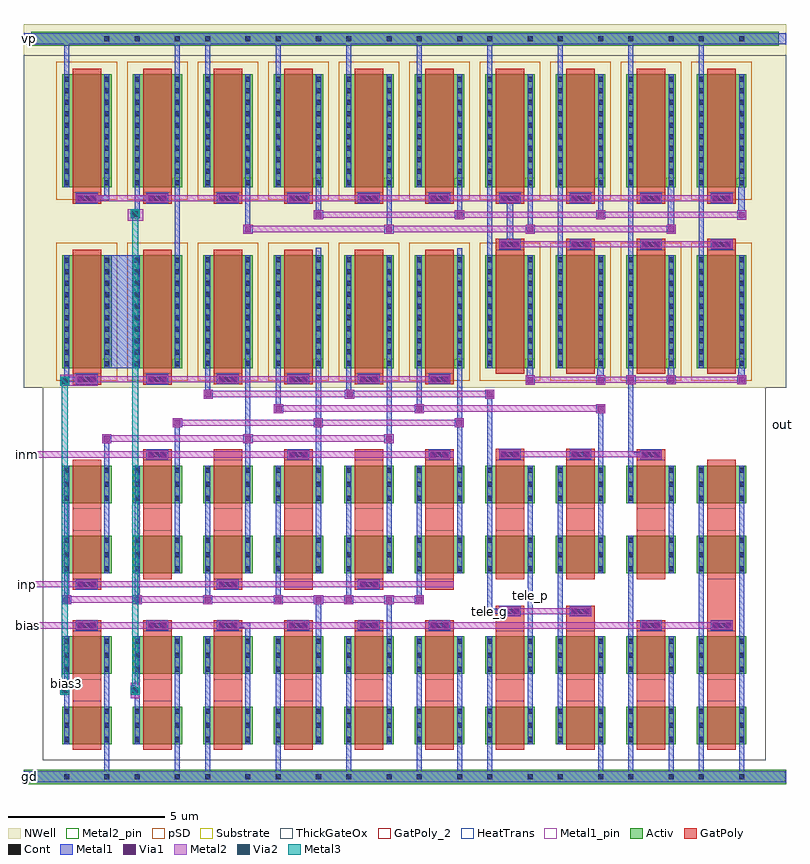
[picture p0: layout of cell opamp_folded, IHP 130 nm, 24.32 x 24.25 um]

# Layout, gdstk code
import gdstk
lib = gdstk.Library(unit=1e-6, precision=1e-09)
def R(c, l, rs):  # rectangles x0, y0, x1, y1
    for r in rs: c.add(gdstk.rectangle(r[:2], r[2:], *l))
def A(c, l, x, y, w, h, nx, ny, dx, dy):  # array of equal rectangles
    R(c, l, [(x+i*dx, y+j*dy, x+i*dx+w, y+j*dy+h) for i in range(nx) for j in range(ny)])
Activ = (1, 0)
GatPoly = (5, 0)
GatPoly_2 = (5, 2)
Cont = (6, 0)
Metal1 = (8, 0)
Metal1_pin = (8, 2)
Metal2 = (10, 0)
Metal2_pin = (10, 2)
pSD = (14, 0)
Via1 = (19, 0)
Via2 = (29, 0)
Metal3 = (30, 0)
NWell = (31, 0)
Substrate = (40, 0)
ThickGateOx = (44, 0)
HeatTrans = (51, 0)

pmoshv = lib.new_cell('pmosHV')
R(pmoshv, Activ, [(0,0,0.3,0.3), (0,0,1.58,3.6), (1.28,0,1.58,0.3)])
R(pmoshv, GatPoly, [(0.34,-0.18,1.24,3.78)])
R(pmoshv, GatPoly_2, [(0.34,-0.18,1.24,3.78)])
A(pmoshv, Cont, 0.07, 0.07, 0.16, 0.16, 1, 3, 0, 0.365)
A(pmoshv, Cont, 1.35, 0.07, 0.16, 0.16, 1, 3, 0, 0.365)
A(pmoshv, Cont, 0.07, 1.17, 0.16, 0.16, 1, 3, 0, 0.365)
A(pmoshv, Cont, 1.35, 1.17, 0.16, 0.16, 1, 3, 0, 0.365)
A(pmoshv, Cont, 0.07, 2.27, 0.16, 0.16, 1, 3, 0, 0.365)
A(pmoshv, Cont, 1.35, 2.27, 0.16, 0.16, 1, 3, 0, 0.365)
R(pmoshv, Cont, [(0.07,3.37,0.23,3.53), (1.35,3.37,1.51,3.53)])
R(pmoshv, Metal1, [(0.07,0,0.23,3.6), (1.35,0,1.51,3.6)])
R(pmoshv, Metal1_pin, [(0.07,0,0.23,3.6), (1.35,0,1.51,3.6)])
R(pmoshv, pSD, [(-0.18,-0.4,1.76,4)])
R(pmoshv, NWell, [(-0.62,-0.62,2.2,4.22)])
R(pmoshv, Substrate, [(1.28,0,1.58,0.3)])
R(pmoshv, ThickGateOx, [(-0.62,-0.62,2.2,4.22)])
R(pmoshv, HeatTrans, [(0.34,-0.18,1.24,3.78)])
pmoshv.add(gdstk.Label('pmosHV', (0.79,1.8), layer=63, texttype=0))
pmoshv.add(gdstk.Label('pmos', (0.79,1.8), layer=51, texttype=0))

via_stack_1 = lib.new_cell('via_stack$1')
R(via_stack_1, Metal1, [(-0.145,-0.145,0.145,0.145)])
R(via_stack_1, Metal2, [(-0.145,-0.145,0.145,0.145)])
R(via_stack_1, Via1, [(-0.095,-0.095,0.095,0.095)])

via_stack = lib.new_cell('via_stack')
R(via_stack, Metal1, [(-0.35,-0.145,0.35,0.145)])
R(via_stack, Metal2, [(-0.35,-0.145,0.35,0.145)])
R(via_stack, Via1, [(-0.3,-0.095,-0.11,0.095), (0.11,-0.095,0.3,0.095)])

via_stack_6 = lib.new_cell('via_stack$6')
R(via_stack_6, Metal1, [(-0.145,-0.145,0.145,0.145)])
R(via_stack_6, Metal2, [(-0.145,-0.145,0.145,0.145)])
R(via_stack_6, Via1, [(-0.095,-0.095,0.095,0.095)])
R(via_stack_6, Via2, [(-0.095,-0.095,0.095,0.095)])
R(via_stack_6, Metal3, [(-0.145,-0.145,0.145,0.145)])

nmoshv = lib.new_cell('nmosHV')
R(nmoshv, Activ, [(0,0,0.3,0.3), (0,0,1.58,1.2), (1.28,0,1.58,0.3)])
R(nmoshv, GatPoly, [(0.34,-0.18,1.24,1.38)])
R(nmoshv, GatPoly_2, [(0.34,-0.18,1.24,1.38)])
A(nmoshv, Cont, 0.07, 0.07, 0.16, 0.16, 1, 3, 0, 0.45)
A(nmoshv, Cont, 1.35, 0.07, 0.16, 0.16, 1, 3, 0, 0.45)
R(nmoshv, Metal1, [(0.07,0,0.23,1.2), (1.35,0,1.51,1.2)])
R(nmoshv, Metal1_pin, [(0.07,0,0.23,1.2), (1.35,0,1.51,1.2)])
R(nmoshv, ThickGateOx, [(-0.27,-0.52,1.85,1.72)])
R(nmoshv, HeatTrans, [(0.34,-0.18,1.24,1.38)])
nmoshv.add(gdstk.Label('nmosHV', (0.79,0.6), layer=63, texttype=0))
nmoshv.add(gdstk.Label('nmosHV', (0.79,0.6), layer=51, texttype=0))

opamp_folded = lib.new_cell('opamp_folded')
A(opamp_folded, GatPoly, 6.06, 6.2, 0.9, 0.34, 4, 2, 2.25, 6.55)
A(opamp_folded, GatPoly, 3.81, 10.34, 0.9, 0.34, 5, 1, 2.25, 0)
A(opamp_folded, GatPoly, 15.06, 17.05, 0.9, 0.34, 4, 1, 2.25, 0)
A(opamp_folded, GatPoly, 1.56, 18.52, 0.9, 0.34, 10, 1, 2.25, 0)
R(opamp_folded, GatPoly, [(1.56,6.2,2.46,6.54), (1.56,12.745,2.46,13.085), (3.81,12.745,4.71,13.085)])
A(opamp_folded, Cont, 1.71, 4.98, 0.6, 0.16, 6, 2, 2.25, 7.86)
A(opamp_folded, Cont, 1.71, 6.29, 0.6, 0.16, 3, 1, 4.5, 0)
A(opamp_folded, Cont, 3.96, 10.43, 0.6, 0.16, 3, 1, 4.5, 0)
A(opamp_folded, Cont, 15.21, 17.14, 0.6, 0.16, 4, 1, 2.25, 0)
A(opamp_folded, Cont, 1.71, 18.61, 0.6, 0.16, 10, 1, 2.25, 0)
R(opamp_folded, Cont, [(1.29,0.15,1.45,0.31), (2.57,0.15,2.73,0.31), (3.54,0.15,3.7,0.31), (4.82,0.15,4.98,0.31), (5.79,0.15,5.95,0.31), (7.07,0.15,7.23,0.31), (8.04,0.15,8.2,0.31), (9.32,0.15,9.48,0.31), (10.29,0.15,10.45,0.31), (11.57,0.15,11.73,0.31), (12.54,0.15,12.7,0.31), (13.82,0.15,13.98,0.31), (14.79,0.15,14.95,0.31), (16.07,0.15,16.23,0.31), (17.04,0.15,17.2,0.31), (18.32,0.15,18.48,0.31), (19.29,0.15,19.45,0.31), (20.57,0.15,20.73,0.31), (21.54,0.15,21.7,0.31), (22.82,0.15,22.98,0.31), (19.71,4.98,20.31,5.14), (21.97,4.98,22.57,5.14), (15.21,5.43,15.81,5.59), (17.46,5.43,18.06,5.59), (19.71,10.43,20.31,10.59), (15.21,10.44,15.81,10.6), (17.46,10.44,18.06,10.6), (2.57,23.7,2.73,23.86), (3.54,23.7,3.7,23.86), (4.82,23.7,4.98,23.86), (5.79,23.7,5.95,23.86), (7.07,23.7,7.23,23.86), (8.04,23.7,8.2,23.86), (9.32,23.7,9.48,23.86), (10.29,23.7,10.45,23.86), (11.57,23.7,11.73,23.86), (12.54,23.7,12.7,23.86), (13.82,23.7,13.98,23.86), (14.79,23.7,14.95,23.86), (16.07,23.7,16.23,23.86), (17.04,23.7,17.2,23.86), (18.32,23.7,18.48,23.86), (19.29,23.7,19.45,23.86), (20.57,23.7,20.73,23.86), (21.54,23.7,21.7,23.86), (22.82,23.7,22.98,23.86)])
A(opamp_folded, Metal1, 1.66, 4.89, 0.7, 0.34, 6, 1, 2.25, 0)
A(opamp_folded, Metal1, 1.66, 6.2, 0.7, 0.34, 3, 1, 4.5, 0)
A(opamp_folded, Metal1, 3.91, 10.34, 0.7, 0.34, 3, 1, 4.5, 0)
A(opamp_folded, Metal1, 6.16, 12.75, 0.7, 0.34, 4, 1, 2.25, 0)
A(opamp_folded, Metal1, 15.16, 17.05, 0.7, 0.34, 4, 1, 2.25, 0)
A(opamp_folded, Metal1, 1.66, 18.52, 0.7, 0.34, 10, 1, 2.25, 0)
R(opamp_folded, Metal1, [(19.66,4.89,20.36,5.23), (21.92,4.89,22.62,5.23), (15.16,5.345,15.86,5.685), (17.41,5.345,18.11,5.685), (19.66,10.34,20.36,10.68), (15.16,10.35,15.86,10.69), (17.41,10.35,18.11,10.69), (1.66,12.745,2.36,13.085), (3.91,12.745,4.61,13.085), (2.57,13.265,3.7,16.865)])
R(opamp_folded, Metal1_pin, [(0,0.05,0.36,0.41), (0,23.6,0.36,23.96)])
R(opamp_folded, Metal2, [(3.41,2.74,3.7,3.23), (1.16,12.705,2.36,13.06), (3.32,17.98,3.81,18.34)])
R(opamp_folded, Metal2_pin, [(0,4.96,0.2,5.16), (0,6.27,0.2,6.47), (0,10.41,0.2,10.61), (24.12,11.36,24.32,11.56)])
R(opamp_folded, NWell, [(0,12.645,24.32,24.25)])
R(opamp_folded, ThickGateOx, [(0.6,0.75,23.67,12.645), (0,12.645,24.32,23.26)])
opamp_folded.add(gdstk.FlexPath([(14.87,6.72),(14.87,10.16)], 0.16, ends="flush", simple_path=True, layer=8, datatype=0))  # Metal1
opamp_folded.add(gdstk.FlexPath([(18.4,6.72),(18.4,10.16)], 0.16, ends="flush", simple_path=True, layer=8, datatype=0))  # Metal1
opamp_folded.add(gdstk.FlexPath([(3.62,19.04),(3.62,18.69),(3.91,18.69)], 0.16, ends="flush", simple_path=True, layer=8, datatype=0))  # Metal1
opamp_folded.add(gdstk.FlexPath([(2.65,19.04),(2.65,18.69),(2.36,18.69)], 0.16, ends="flush", simple_path=True, layer=8, datatype=0))  # Metal1
opamp_folded.add(gdstk.FlexPath([(11.65,22.605),(11.65,17.605)], 0.16, ends="flush", simple_path=True, layer=8, datatype=0))  # Metal1
opamp_folded.add(gdstk.FlexPath([(9.4,22.64),(9.4,18.055)], 0.16, ends="flush", simple_path=True, layer=8, datatype=0))  # Metal1
opamp_folded.add(gdstk.FlexPath([(7.15,22.605),(7.15,17.605)], 0.16, ends="flush", simple_path=True, layer=8, datatype=0))  # Metal1
opamp_folded.add(gdstk.FlexPath([(4.9,16.865),(4.9,23.78)], 0.16, ends="flush", simple_path=True, layer=8, datatype=0))  # Metal1
opamp_folded.add(gdstk.FlexPath([(13.9,22.64),(13.9,18.055)], 0.16, ends="flush", simple_path=True, layer=8, datatype=0))  # Metal1
opamp_folded.add(gdstk.FlexPath([(16.15,22.605),(16.15,17.605)], 0.16, ends="flush", simple_path=True, layer=8, datatype=0))  # Metal1
opamp_folded.add(gdstk.FlexPath([(18.4,22.64),(18.4,18.055)], 0.16, ends="flush", simple_path=True, layer=8, datatype=0))  # Metal1
opamp_folded.add(gdstk.FlexPath([(20.65,19.04),(20.65,17.56)], 0.2, ends="flush", simple_path=True, layer=8, datatype=0))  # Metal1
opamp_folded.add(gdstk.FlexPath([(22.9,19.04),(22.9,18.015)], 0.2, ends="flush", simple_path=True, layer=8, datatype=0))  # Metal1
opamp_folded.add(gdstk.FlexPath([(15.51,18.775),(15.51,17.39)], 0.2, ends="flush", simple_path=True, layer=8, datatype=0))  # Metal1
opamp_folded.add(gdstk.FlexPath([(1.66,12.915),(1.37,12.915),(1.37,13.265)], 0.16, ends="flush", simple_path=True, layer=8, datatype=0))  # Metal1
opamp_folded.add(gdstk.FlexPath([(21.62,13.27),(21.62,23.78)], 0.16, ends="flush", simple_path=True, layer=8, datatype=0))  # Metal1
opamp_folded.add(gdstk.FlexPath([(19.37,13.27),(19.37,23.78)], 0.16, ends="flush", simple_path=True, layer=8, datatype=0))  # Metal1
opamp_folded.add(gdstk.FlexPath([(3.62,18.045),(3.62,19.04)], 0.16, ends="flush", simple_path=True, layer=8, datatype=0))  # Metal1
opamp_folded.add(gdstk.FlexPath([(0,23.78),(24.32,23.78)], 0.36, ends="flush", simple_path=True, layer=8, datatype=0))  # Metal1
opamp_folded.add(gdstk.FlexPath([(16.15,13.27),(16.15,12.795)], 0.2, ends="flush", simple_path=True, layer=8, datatype=0))  # Metal1
opamp_folded.add(gdstk.FlexPath([(18.4,13.27),(18.4,12.795)], 0.2, ends="flush", simple_path=True, layer=8, datatype=0))  # Metal1
opamp_folded.add(gdstk.FlexPath([(1.37,19.04),(1.37,23.78)], 0.16, ends="flush", simple_path=True, layer=8, datatype=0))  # Metal1
opamp_folded.add(gdstk.FlexPath([(5.87,19.04),(5.87,23.78)], 0.16, ends="flush", simple_path=True, layer=8, datatype=0))  # Metal1
opamp_folded.add(gdstk.FlexPath([(8.12,19.04),(8.12,23.78)], 0.16, ends="flush", simple_path=True, layer=8, datatype=0))  # Metal1
opamp_folded.add(gdstk.FlexPath([(10.37,19.04),(10.37,23.78)], 0.16, ends="flush", simple_path=True, layer=8, datatype=0))  # Metal1
opamp_folded.add(gdstk.FlexPath([(12.62,19.04),(12.62,23.78)], 0.16, ends="flush", simple_path=True, layer=8, datatype=0))  # Metal1
opamp_folded.add(gdstk.FlexPath([(17.12,13.27),(17.12,23.78)], 0.16, ends="flush", simple_path=True, layer=8, datatype=0))  # Metal1
opamp_folded.add(gdstk.FlexPath([(14.87,13.27),(14.87,23.78)], 0.16, ends="flush", simple_path=True, layer=8, datatype=0))  # Metal1
opamp_folded.add(gdstk.FlexPath([(20.65,13.27),(20.65,12.8)], 0.2, ends="flush", simple_path=True, layer=8, datatype=0))  # Metal1
opamp_folded.add(gdstk.FlexPath([(22.9,13.27),(22.9,12.8)], 0.2, ends="flush", simple_path=True, layer=8, datatype=0))  # Metal1
opamp_folded.add(gdstk.FlexPath([(5.87,13.27),(5.87,12.34)], 0.16, ends="flush", simple_path=True, layer=8, datatype=0))  # Metal1
opamp_folded.add(gdstk.FlexPath([(8.12,13.27),(8.12,11.88)], 0.16, ends="flush", simple_path=True, layer=8, datatype=0))  # Metal1
opamp_folded.add(gdstk.FlexPath([(10.37,13.27),(10.37,12.34)], 0.16, ends="flush", simple_path=True, layer=8, datatype=0))  # Metal1
opamp_folded.add(gdstk.FlexPath([(12.62,13.34),(12.62,11.88)], 0.16, ends="flush", simple_path=True, layer=8, datatype=0))  # Metal1
opamp_folded.add(gdstk.FlexPath([(19.37,10.16),(19.37,13.27)], 0.16, ends="flush", simple_path=True, layer=8, datatype=0))  # Metal1
opamp_folded.add(gdstk.FlexPath([(14.87,10.16),(14.87,12.54)], 0.16, ends="flush", simple_path=True, layer=8, datatype=0))  # Metal1
opamp_folded.add(gdstk.FlexPath([(18.4,10.16),(18.4,12.12)], 0.16, ends="flush", simple_path=True, layer=8, datatype=0))  # Metal1
opamp_folded.add(gdstk.FlexPath([(0,0.23),(24.32,0.23)], 0.36, ends="flush", simple_path=True, layer=8, datatype=0))  # Metal1
opamp_folded.add(gdstk.FlexPath([(1.37,1.27),(1.37,4.71)], 0.16, ends="flush", simple_path=True, layer=8, datatype=0))  # Metal1
opamp_folded.add(gdstk.FlexPath([(4.9,4.71),(4.9,0.23)], 0.16, ends="flush", simple_path=True, layer=8, datatype=0))  # Metal1
opamp_folded.add(gdstk.FlexPath([(5.87,4.71),(5.87,0.23)], 0.16, ends="flush", simple_path=True, layer=8, datatype=0))  # Metal1
opamp_folded.add(gdstk.FlexPath([(8.12,4.71),(8.12,0.23)], 0.16, ends="flush", simple_path=True, layer=8, datatype=0))  # Metal1
opamp_folded.add(gdstk.FlexPath([(10.37,4.71),(10.37,0.23)], 0.16, ends="flush", simple_path=True, layer=8, datatype=0))  # Metal1
opamp_folded.add(gdstk.FlexPath([(13.9,4.71),(13.9,0.23)], 0.16, ends="flush", simple_path=True, layer=8, datatype=0))  # Metal1
opamp_folded.add(gdstk.FlexPath([(12.62,4.71),(12.62,0.23)], 0.16, ends="flush", simple_path=True, layer=8, datatype=0))  # Metal1
opamp_folded.add(gdstk.FlexPath([(14.87,4.71),(14.87,0.23)], 0.16, ends="flush", simple_path=True, layer=8, datatype=0))  # Metal1
opamp_folded.add(gdstk.FlexPath([(18.4,4.71),(18.4,0.23)], 0.16, ends="flush", simple_path=True, layer=8, datatype=0))  # Metal1
opamp_folded.add(gdstk.FlexPath([(20.65,4.71),(20.65,0.23)], 0.16, ends="flush", simple_path=True, layer=8, datatype=0))  # Metal1
opamp_folded.add(gdstk.FlexPath([(21.62,10.16),(21.62,0.23)], 0.16, ends="flush", simple_path=True, layer=8, datatype=0))  # Metal1
opamp_folded.add(gdstk.FlexPath([(22.9,10.16),(22.9,0.23)], 0.16, ends="flush", simple_path=True, layer=8, datatype=0))  # Metal1
opamp_folded.add(gdstk.FlexPath([(1.37,5.74),(1.37,8.96)], 0.16, ends="flush", simple_path=True, layer=8, datatype=0))  # Metal1
opamp_folded.add(gdstk.FlexPath([(2.65,7.92),(2.65,11.12)], 0.16, ends="flush", simple_path=True, layer=8, datatype=0))  # Metal1
opamp_folded.add(gdstk.FlexPath([(3.62,5.74),(3.62,8.96)], 0.16, ends="flush", simple_path=True, layer=8, datatype=0))  # Metal1
opamp_folded.add(gdstk.FlexPath([(4.9,7.92),(4.9,11.58)], 0.16, ends="flush", simple_path=True, layer=8, datatype=0))  # Metal1
opamp_folded.add(gdstk.FlexPath([(19.37,6.72),(19.37,0.23)], 0.16, ends="flush", simple_path=True, layer=8, datatype=0))  # Metal1
opamp_folded.add(gdstk.FlexPath([(10.37,10.16),(10.37,5.78)], 0.16, ends="flush", simple_path=True, layer=8, datatype=0))  # Metal1
opamp_folded.add(gdstk.FlexPath([(14.87,6.72),(14.87,5.515),(15.16,5.515)], 0.16, ends="flush", simple_path=True, layer=8, datatype=0))  # Metal1
opamp_folded.add(gdstk.FlexPath([(7.15,6.72),(7.15,16.68)], 0.16, ends="flush", simple_path=True, layer=8, datatype=0))  # Metal1
opamp_folded.add(gdstk.FlexPath([(12.62,10.16),(12.62,5.78)], 0.16, ends="flush", simple_path=True, layer=8, datatype=0))  # Metal1
opamp_folded.add(gdstk.FlexPath([(9.4,6.72),(9.4,17.105)], 0.16, ends="flush", simple_path=True, layer=8, datatype=0))  # Metal1
opamp_folded.add(gdstk.FlexPath([(11.65,4.71),(11.65,1.27)], 0.16, ends="flush", simple_path=True, layer=8, datatype=0))  # Metal1
opamp_folded.add(gdstk.FlexPath([(11.65,1.27),(11.65,5.99)], 0.16, ends="flush", simple_path=True, layer=8, datatype=0))  # Metal1
opamp_folded.add(gdstk.FlexPath([(16.15,1.27),(16.15,10.16)], 0.16, ends="flush", simple_path=True, layer=8, datatype=0))  # Metal1
opamp_folded.add(gdstk.FlexPath([(17.12,10.16),(17.12,1.27)], 0.16, ends="flush", simple_path=True, layer=8, datatype=0))  # Metal1
opamp_folded.add(gdstk.FlexPath([(11.65,6.72),(11.65,16.685)], 0.16, ends="flush", simple_path=True, layer=8, datatype=0))  # Metal1
opamp_folded.add(gdstk.FlexPath([(13.9,6.72),(13.9,17.1)], 0.16, ends="flush", simple_path=True, layer=8, datatype=0))  # Metal1
opamp_folded.add(gdstk.FlexPath([(8.12,10.09),(8.12,5.78)], 0.16, ends="flush", simple_path=True, layer=8, datatype=0))  # Metal1
opamp_folded.add(gdstk.FlexPath([(5.87,10.16),(5.87,5.785)], 0.16, ends="flush", simple_path=True, layer=8, datatype=0))  # Metal1
opamp_folded.add(gdstk.FlexPath([(9.4,1.27),(9.4,5.99)], 0.16, ends="flush", simple_path=True, layer=8, datatype=0))  # Metal1
opamp_folded.add(gdstk.FlexPath([(7.15,1.27),(7.15,5.06),(6.86,5.06)], 0.16, ends="flush", simple_path=True, layer=8, datatype=0))  # Metal1
opamp_folded.add(gdstk.FlexPath([(3.62,1.27),(3.62,4.71)], 0.16, ends="flush", simple_path=True, layer=8, datatype=0))  # Metal1
opamp_folded.add(gdstk.FlexPath([(20.65,7.92),(20.65,8.96)], 0.16, ends="flush", simple_path=True, layer=8, datatype=0))  # Metal1
opamp_folded.add(gdstk.FlexPath([(19.37,10.16),(19.37,10.51),(19.66,10.51)], 0.16, ends="flush", simple_path=True, layer=8, datatype=0))  # Metal1
opamp_folded.add(gdstk.FlexPath([(2.65,4.71),(2.65,0.23)], 0.16, ends="flush", simple_path=True, layer=8, datatype=0))  # Metal1
opamp_folded.add(gdstk.FlexPath([(0.24,23.78),(24.08,23.78)], 0.46, ends="flush", simple_path=True, layer=1, datatype=0))  # Activ
opamp_folded.add(gdstk.FlexPath([(0,0.23),(24.32,0.23)], 0.46, ends="flush", simple_path=True, layer=1, datatype=0))  # Activ
opamp_folded.add(gdstk.FlexPath([(17.76,1.09),(17.76,5.685)], 0.9, ends="flush", simple_path=True, layer=5, datatype=0))  # GatPoly
opamp_folded.add(gdstk.FlexPath([(15.51,1.09),(15.51,5.685)], 0.9, ends="flush", simple_path=True, layer=5, datatype=0))  # GatPoly
opamp_folded.add(gdstk.FlexPath([(11.01,8.1),(11.01,8.78)], 0.9, ends="flush", simple_path=True, layer=5, datatype=0))  # GatPoly
opamp_folded.add(gdstk.FlexPath([(13.26,8.1),(13.26,8.78)], 0.9, ends="flush", simple_path=True, layer=5, datatype=0))  # GatPoly
opamp_folded.add(gdstk.FlexPath([(11.01,1.09),(11.01,5.23)], 0.9, ends="flush", simple_path=True, layer=5, datatype=0))  # GatPoly
opamp_folded.add(gdstk.FlexPath([(8.76,1.09),(8.76,5.23)], 0.9, ends="flush", simple_path=True, layer=5, datatype=0))  # GatPoly
opamp_folded.add(gdstk.FlexPath([(13.26,1.09),(13.26,5.23)], 0.9, ends="flush", simple_path=True, layer=5, datatype=0))  # GatPoly
opamp_folded.add(gdstk.FlexPath([(20.01,1.09),(20.01,5.23)], 0.9, ends="flush", simple_path=True, layer=5, datatype=0))  # GatPoly
opamp_folded.add(gdstk.FlexPath([(8.76,8.1),(8.76,8.78)], 0.9, ends="flush", simple_path=True, layer=5, datatype=0))  # GatPoly
opamp_folded.add(gdstk.FlexPath([(6.51,8.1),(6.51,8.78)], 0.9, ends="flush", simple_path=True, layer=5, datatype=0))  # GatPoly
opamp_folded.add(gdstk.FlexPath([(15.51,6.54),(15.51,10.69)], 0.9, ends="flush", simple_path=True, layer=5, datatype=0))  # GatPoly
opamp_folded.add(gdstk.FlexPath([(17.76,6.54),(17.76,10.69)], 0.9, ends="flush", simple_path=True, layer=5, datatype=0))  # GatPoly
opamp_folded.add(gdstk.FlexPath([(2.01,1.09),(2.01,5.23)], 0.9, ends="flush", simple_path=True, layer=5, datatype=0))  # GatPoly
opamp_folded.add(gdstk.FlexPath([(4.26,1.09),(4.26,5.23)], 0.9, ends="flush", simple_path=True, layer=5, datatype=0))  # GatPoly
opamp_folded.add(gdstk.FlexPath([(4.26,8.1),(4.26,8.78)], 0.9, ends="flush", simple_path=True, layer=5, datatype=0))  # GatPoly
opamp_folded.add(gdstk.FlexPath([(2.01,8.1),(2.01,8.78)], 0.9, ends="flush", simple_path=True, layer=5, datatype=0))  # GatPoly
opamp_folded.add(gdstk.FlexPath([(6.51,5.23),(6.51,1.09)], 0.9, ends="flush", simple_path=True, layer=5, datatype=0))  # GatPoly
opamp_folded.add(gdstk.FlexPath([(20.01,10.68),(20.01,6.54)], 0.9, ends="flush", simple_path=True, layer=5, datatype=0))  # GatPoly
opamp_folded.add(gdstk.FlexPath([(22.26,1.09),(22.26,5.23)], 0.9, ends="flush", simple_path=True, layer=5, datatype=0))  # GatPoly
opamp_folded.add(gdstk.FlexPath([(22.26,10.34),(22.26,5.23)], 0.9, ends="flush", simple_path=True, layer=5, datatype=0))  # GatPoly
opamp_folded.add(gdstk.FlexPath([(0.03,0.23),(24.29,0.23)], 0.36, ends="flush", simple_path=True, layer=14, datatype=0))  # pSD
opamp_folded.add(gdstk.FlexPath([(14.04,11.525),(4.805,11.525)], 0.2, ends="flush", simple_path=True, layer=10, datatype=0))  # Metal2
opamp_folded.add(gdstk.FlexPath([(2.57,11.02),(11.795,11.02)], 0.2, ends="flush", simple_path=True, layer=10, datatype=0))  # Metal2
opamp_folded.add(gdstk.FlexPath([(22.61,18.69),(4.56,18.69)], 0.2, ends="flush", simple_path=True, layer=10, datatype=0))  # Metal2
opamp_folded.add(gdstk.FlexPath([(4.61,18.69),(1.66,18.69)], 0.2, ends="flush", simple_path=True, layer=10, datatype=0))  # Metal2
opamp_folded.add(gdstk.FlexPath([(23.05,18.16),(9.255,18.16)], 0.2, ends="flush", simple_path=True, layer=10, datatype=0))  # Metal2
opamp_folded.add(gdstk.FlexPath([(7.005,17.705),(20.8,17.705)], 0.2, ends="flush", simple_path=True, layer=10, datatype=0))  # Metal2
opamp_folded.add(gdstk.FlexPath([(1.66,12.915),(13.61,12.915)], 0.2, ends="flush", simple_path=True, layer=10, datatype=0))  # Metal2
opamp_folded.add(gdstk.FlexPath([(15.16,17.22),(22.61,17.22)], 0.2, ends="flush", simple_path=True, layer=10, datatype=0))  # Metal2
opamp_folded.add(gdstk.FlexPath([(23.045,12.9),(16.005,12.9)], 0.2, ends="flush", simple_path=True, layer=10, datatype=0))  # Metal2
opamp_folded.add(gdstk.FlexPath([(18.54,11.98),(7.98,11.98)], 0.2, ends="flush", simple_path=True, layer=10, datatype=0))  # Metal2
opamp_folded.add(gdstk.FlexPath([(15.015,12.44),(5.79,12.44)], 0.2, ends="flush", simple_path=True, layer=10, datatype=0))  # Metal2
opamp_folded.add(gdstk.FlexPath([(13.71,10.51),(0,10.51)], 0.2, ends="flush", simple_path=True, layer=10, datatype=0))  # Metal2
opamp_folded.add(gdstk.FlexPath([(13.71,6.37),(0,6.37)], 0.2, ends="flush", simple_path=True, layer=10, datatype=0))  # Metal2
opamp_folded.add(gdstk.FlexPath([(15.16,5.515),(18.11,5.515)], 0.2, ends="flush", simple_path=True, layer=10, datatype=0))  # Metal2
opamp_folded.add(gdstk.FlexPath([(0,5.06),(22.62,5.06)], 0.2, ends="flush", simple_path=True, layer=10, datatype=0))  # Metal2
opamp_folded.add(gdstk.FlexPath([(15.16,10.52),(20.36,10.52)], 0.2, ends="flush", simple_path=True, layer=10, datatype=0))  # Metal2
opamp_folded.add(gdstk.FlexPath([(12.765,5.885),(1.265,5.885)], 0.2, ends="flush", simple_path=True, layer=10, datatype=0))  # Metal2
opamp_folded.add(gdstk.FlexPath([(1.305,12.855),(1.305,3.085)], 0.2, ends="flush", simple_path=True, layer=30, datatype=0))  # Metal3
opamp_folded.add(gdstk.FlexPath([(3.555,3.13),(3.555,18.195)], 0.2, ends="flush", simple_path=True, layer=30, datatype=0))  # Metal3
opamp_folded.add(gdstk.Reference(pmoshv, (10.22,19.04)))
opamp_folded.add(gdstk.Reference(pmoshv, (12.47,19.04)))
opamp_folded.add(gdstk.Reference(pmoshv, (10.22,13.27)))
opamp_folded.add(gdstk.Reference(pmoshv, (12.47,13.27)))
opamp_folded.add(gdstk.Reference(via_stack_1, (8.125,11.975)))
opamp_folded.add(gdstk.Reference(via_stack_1, (12.62,11.975)))
opamp_folded.add(gdstk.Reference(via_stack_1, (18.4,11.975)))
opamp_folded.add(gdstk.Reference(via_stack_1, (20.655,17.705)))
opamp_folded.add(gdstk.Reference(via_stack_1, (22.905,18.155)))
opamp_folded.add(gdstk.Reference(via_stack, (13.26,18.69)))
opamp_folded.add(gdstk.Reference(via_stack, (15.51,18.69)))
opamp_folded.add(gdstk.Reference(via_stack, (17.76,18.69)))
opamp_folded.add(gdstk.Reference(via_stack, (20.01,18.69)))
opamp_folded.add(gdstk.Reference(via_stack, (22.26,18.69)))
opamp_folded.add(gdstk.Reference(pmoshv, (14.72,19.04)))
opamp_folded.add(gdstk.Reference(pmoshv, (14.72,13.27)))
opamp_folded.add(gdstk.Reference(pmoshv, (21.47,13.27)))
opamp_folded.add(gdstk.Reference(via_stack, (15.51,17.22)))
opamp_folded.add(gdstk.Reference(via_stack, (17.76,17.22)))
opamp_folded.add(gdstk.Reference(via_stack, (20.01,17.22)))
opamp_folded.add(gdstk.Reference(via_stack, (22.26,17.22)))
opamp_folded.add(gdstk.Reference(pmoshv, (16.97,19.04)))
opamp_folded.add(gdstk.Reference(via_stack, (13.26,12.92)))
opamp_folded.add(gdstk.Reference(pmoshv, (16.97,13.27)))
opamp_folded.add(gdstk.Reference(via_stack_1, (18.4,12.89)))
opamp_folded.add(gdstk.Reference(via_stack_1, (16.15,12.89)))
opamp_folded.add(gdstk.Reference(pmoshv, (19.22,13.27)))
opamp_folded.add(gdstk.Reference(via_stack_1, (20.65,12.895)))
opamp_folded.add(gdstk.Reference(via_stack_1, (22.9,12.895)))
opamp_folded.add(gdstk.Reference(via_stack_1, (19.37,12.895)))
opamp_folded.add(gdstk.Reference(pmoshv, (19.22,19.04)))
opamp_folded.add(gdstk.Reference(pmoshv, (21.47,19.04)))
opamp_folded.add(gdstk.Reference(via_stack_1, (13.9,18.16)))
opamp_folded.add(gdstk.Reference(via_stack_1, (16.15,17.705)))
opamp_folded.add(gdstk.Reference(via_stack_1, (14.87,12.435)))
opamp_folded.add(gdstk.Reference(via_stack_1, (18.4,18.16)))
opamp_folded.add(gdstk.Reference(pmoshv, (3.47,19.04)))
opamp_folded.add(gdstk.Reference(via_stack, (6.51,18.69)))
opamp_folded.add(gdstk.Reference(via_stack, (8.76,18.69)))
opamp_folded.add(gdstk.Reference(pmoshv, (5.72,13.27)))
opamp_folded.add(gdstk.Reference(via_stack, (8.76,12.92)))
opamp_folded.add(gdstk.Reference(pmoshv, (7.97,19.04)))
opamp_folded.add(gdstk.Reference(via_stack, (11.01,12.92)))
opamp_folded.add(gdstk.Reference(via_stack, (11.01,18.69)))
opamp_folded.add(gdstk.Reference(via_stack, (4.26,18.69)))
opamp_folded.add(gdstk.Reference(via_stack_6, (3.555,18.19)))
opamp_folded.add(gdstk.Reference(via_stack_6, (1.305,12.85)))
opamp_folded.add(gdstk.Reference(via_stack, (6.51,12.92)))
opamp_folded.add(gdstk.Reference(pmoshv, (5.72,19.04)))
opamp_folded.add(gdstk.Reference(pmoshv, (1.22,19.04)))
opamp_folded.add(gdstk.Reference(pmoshv, (1.22,13.265)))
opamp_folded.add(gdstk.Reference(pmoshv, (3.47,13.265)))
opamp_folded.add(gdstk.Reference(via_stack, (2.01,12.915)))
opamp_folded.add(gdstk.Reference(via_stack, (4.26,12.915)))
opamp_folded.add(gdstk.Reference(pmoshv, (7.97,13.27)))
opamp_folded.add(gdstk.Reference(via_stack_1, (7.15,17.705)))
opamp_folded.add(gdstk.Reference(via_stack_1, (5.885,12.435)))
opamp_folded.add(gdstk.Reference(via_stack_1, (10.39,12.435)))
opamp_folded.add(gdstk.Reference(via_stack_1, (11.65,17.705)))
opamp_folded.add(gdstk.Reference(via_stack, (2.01,18.69)))
opamp_folded.add(gdstk.Reference(via_stack_1, (9.4,18.16)))
opamp_folded.add(gdstk.Reference(nmoshv, (5.72,3.51)))
opamp_folded.add(gdstk.Reference(via_stack, (6.51,5.06)))
opamp_folded.add(gdstk.Reference(nmoshv, (3.47,3.51)))
opamp_folded.add(gdstk.Reference(nmoshv, (3.47,1.27)))
opamp_folded.add(gdstk.Reference(nmoshv, (10.22,3.51)))
opamp_folded.add(gdstk.Reference(via_stack_1, (1.37,5.885)))
opamp_folded.add(gdstk.Reference(via_stack, (4.26,5.06)))
opamp_folded.add(gdstk.Reference(nmoshv, (7.97,3.51)))
opamp_folded.add(gdstk.Reference(nmoshv, (3.47,8.96)))
opamp_folded.add(gdstk.Reference(nmoshv, (3.47,6.72)))
opamp_folded.add(gdstk.Reference(nmoshv, (1.22,8.96)))
opamp_folded.add(gdstk.Reference(nmoshv, (1.22,6.72)))
opamp_folded.add(gdstk.Reference(via_stack_1, (11.65,5.885)))
opamp_folded.add(gdstk.Reference(nmoshv, (7.97,1.27)))
opamp_folded.add(gdstk.Reference(via_stack, (11.01,5.06)))
opamp_folded.add(gdstk.Reference(nmoshv, (10.22,1.27)))
opamp_folded.add(gdstk.Reference(nmoshv, (10.22,8.96)))
opamp_folded.add(gdstk.Reference(via_stack, (6.51,6.37)))
opamp_folded.add(gdstk.Reference(via_stack_1, (8.12,5.885)))
opamp_folded.add(gdstk.Reference(via_stack, (8.76,10.51)))
opamp_folded.add(gdstk.Reference(via_stack_6, (1.305,2.99)))
opamp_folded.add(gdstk.Reference(via_stack_1, (5.87,5.885)))
opamp_folded.add(gdstk.Reference(nmoshv, (7.97,8.96)))
opamp_folded.add(gdstk.Reference(via_stack_6, (3.555,2.985)))
opamp_folded.add(gdstk.Reference(nmoshv, (7.97,6.72)))
opamp_folded.add(gdstk.Reference(via_stack_1, (3.615,5.885)))
opamp_folded.add(gdstk.Reference(via_stack_1, (11.65,11.02)))
opamp_folded.add(gdstk.Reference(nmoshv, (5.72,1.27)))
opamp_folded.add(gdstk.Reference(via_stack_1, (9.4,5.885)))
opamp_folded.add(gdstk.Reference(via_stack, (2.01,5.06)))
opamp_folded.add(gdstk.Reference(nmoshv, (1.22,1.27)))
opamp_folded.add(gdstk.Reference(nmoshv, (5.72,8.96)))
opamp_folded.add(gdstk.Reference(nmoshv, (5.72,6.72)))
opamp_folded.add(gdstk.Reference(nmoshv, (1.22,3.51)))
opamp_folded.add(gdstk.Reference(via_stack, (2.01,6.37)))
opamp_folded.add(gdstk.Reference(via_stack, (4.26,10.51)))
opamp_folded.add(gdstk.Reference(via_stack_1, (2.65,11.02)))
opamp_folded.add(gdstk.Reference(nmoshv, (10.22,6.72)))
opamp_folded.add(gdstk.Reference(via_stack_1, (10.37,5.885)))
opamp_folded.add(gdstk.Reference(via_stack_1, (9.395,11.525)))
opamp_folded.add(gdstk.Reference(via_stack_1, (4.9,11.525)))
opamp_folded.add(gdstk.Reference(via_stack_1, (7.15,11.02)))
opamp_folded.add(gdstk.Reference(via_stack, (11.01,6.37)))
opamp_folded.add(gdstk.Reference(via_stack, (8.76,5.06)))
opamp_folded.add(gdstk.Reference(nmoshv, (19.22,8.96)))
opamp_folded.add(gdstk.Reference(nmoshv, (19.22,6.72)))
opamp_folded.add(gdstk.Reference(via_stack, (20.01,10.51)))
opamp_folded.add(gdstk.Reference(nmoshv, (21.47,3.51)))
opamp_folded.add(gdstk.Reference(nmoshv, (21.47,1.27)))
opamp_folded.add(gdstk.Reference(nmoshv, (21.47,8.96)))
opamp_folded.add(gdstk.Reference(nmoshv, (21.47,6.72)))
opamp_folded.add(gdstk.Reference(via_stack, (22.27,5.06)))
opamp_folded.add(gdstk.Reference(nmoshv, (16.97,8.96)))
opamp_folded.add(gdstk.Reference(nmoshv, (19.22,3.51)))
opamp_folded.add(gdstk.Reference(via_stack, (20.01,5.06)))
opamp_folded.add(gdstk.Reference(nmoshv, (19.22,1.27)))
opamp_folded.add(gdstk.Reference(nmoshv, (16.97,3.51)))
opamp_folded.add(gdstk.Reference(nmoshv, (12.47,3.51)))
opamp_folded.add(gdstk.Reference(via_stack, (13.26,10.51)))
opamp_folded.add(gdstk.Reference(nmoshv, (12.47,6.72)))
opamp_folded.add(gdstk.Reference(nmoshv, (14.72,6.72)))
opamp_folded.add(gdstk.Reference(nmoshv, (14.72,8.96)))
opamp_folded.add(gdstk.Reference(nmoshv, (16.97,1.27)))
opamp_folded.add(gdstk.Reference(via_stack, (17.76,5.515)))
opamp_folded.add(gdstk.Reference(via_stack, (17.76,10.52)))
opamp_folded.add(gdstk.Reference(via_stack, (15.51,10.52)))
opamp_folded.add(gdstk.Reference(via_stack, (15.51,5.515)))
opamp_folded.add(gdstk.Reference(nmoshv, (12.47,1.27)))
opamp_folded.add(gdstk.Reference(via_stack_1, (12.62,5.885)))
opamp_folded.add(gdstk.Reference(via_stack_1, (13.895,11.525)))
opamp_folded.add(gdstk.Reference(nmoshv, (14.72,3.51)))
opamp_folded.add(gdstk.Reference(nmoshv, (16.97,6.72)))
opamp_folded.add(gdstk.Reference(nmoshv, (12.47,8.96)))
opamp_folded.add(gdstk.Reference(via_stack, (13.26,5.06)))
opamp_folded.add(gdstk.Reference(nmoshv, (14.72,1.27)))
opamp_folded.add(gdstk.Label('tele_g', (14.861,5.511), layer=8, texttype=25))
opamp_folded.add(gdstk.Label('vp', (0.18,23.78), layer=8, texttype=25))
opamp_folded.add(gdstk.Label('bias3', (1.372,3.212), layer=8, texttype=25))
opamp_folded.add(gdstk.Label('tele_p', (16.15,6), layer=8, texttype=25))
opamp_folded.add(gdstk.Label('tele_m', (17.12,6), layer=8, texttype=25))
opamp_folded.add(gdstk.Label('gd', (0.18,0.23), layer=8, texttype=25))
opamp_folded.add(gdstk.Label('inp', (0.1,6.37), layer=10, texttype=25))
opamp_folded.add(gdstk.Label('inm', (0.1,10.51), layer=10, texttype=25))
opamp_folded.add(gdstk.Label('out', (24.22,11.46), layer=10, texttype=25))
opamp_folded.add(gdstk.Label('bias', (0.1,5.06), layer=10, texttype=25))

lib.write_gds('opamp_folded.gds')
